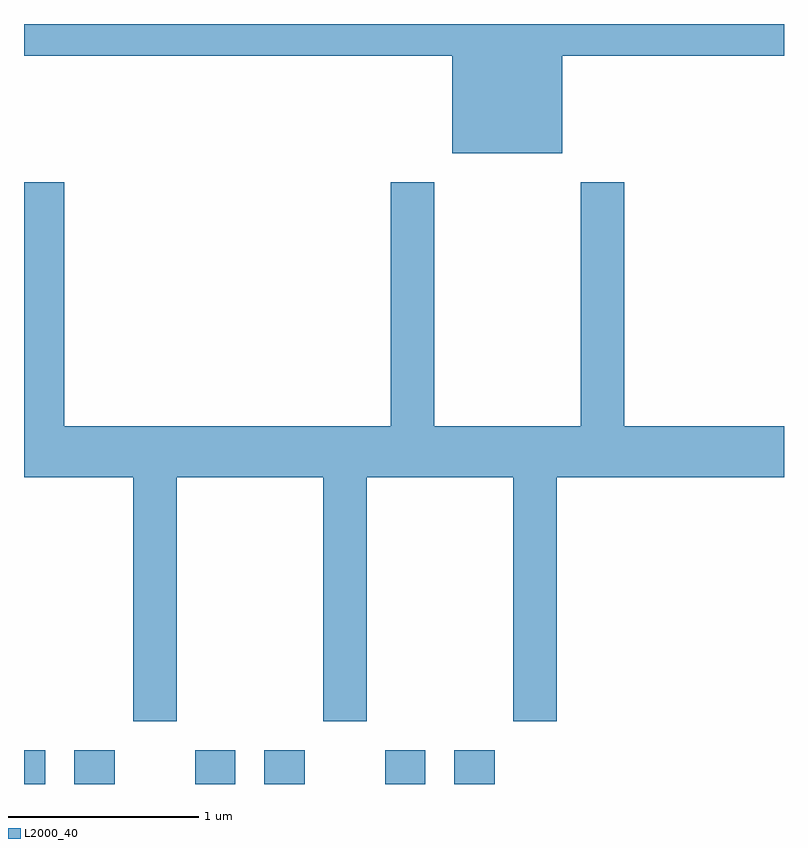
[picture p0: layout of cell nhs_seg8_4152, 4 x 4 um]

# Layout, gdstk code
import gdstk
lib = gdstk.Library(unit=1e-6, precision=1e-09)
def R(c, l, rs):  # rectangles x0, y0, x1, y1
    for r in rs: c.add(gdstk.rectangle(r[:2], r[2:], *l))
def P(c, l, *ps):  # polygons
    for p in ps: c.add(gdstk.Polygon(p, *l))
L2000_40 = (2000, 40)

nhs_seg8_4152 = lib.new_cell('nhs_seg8_4152')
R(nhs_seg8_4152, L2000_40, [(309.611,1850.342,309.724,1850.519), (309.876,1850.342,310.089,1850.519), (310.511,1850.342,310.724,1850.519), (310.876,1850.342,311.089,1850.519), (311.511,1850.342,311.724,1850.519), (311.876,1850.342,312.089,1850.519)])
P(nhs_seg8_4152, L2000_40, [(312.444,1854.176),(313.611,1854.176),(313.611,1854.342),(309.611,1854.342),(309.611,1854.176),(311.866,1854.176),(311.866,1853.661),(312.444,1853.661)],
  [(310.414,1851.956),(311.186,1851.956),(311.186,1850.671),(311.414,1850.671),(311.414,1851.956),(312.186,1851.956),(312.186,1850.671),(312.414,1850.671),(312.414,1851.956),(313.611,1851.956),(313.611,1852.224),(312.769,1852.224),(312.769,1853.509),(312.541,1853.509),(312.541,1852.224),(311.769,1852.224),(311.769,1853.509),(311.541,1853.509),(311.541,1852.224),(309.824,1852.224),(309.824,1853.509),(309.611,1853.509),(309.611,1851.956),(310.186,1851.956),(310.186,1850.671),(310.414,1850.671)])

lib.write_gds('nhs_seg8_4152.gds')
